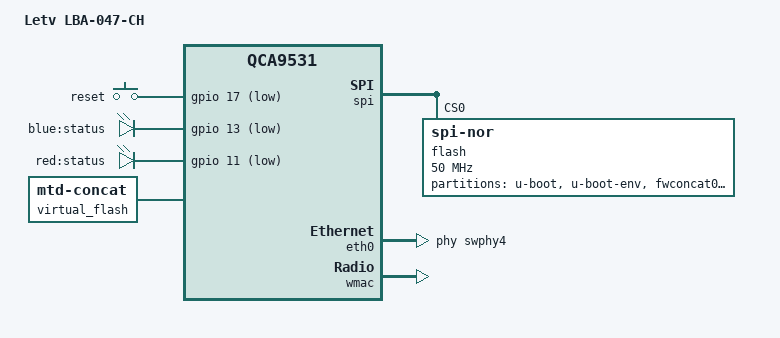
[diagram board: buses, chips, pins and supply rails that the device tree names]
// SPDX-License-Identifier: GPL-2.0-or-later OR MIT

#include "qca953x.dtsi"

#include <dt-bindings/gpio/gpio.h>
#include <dt-bindings/input/input.h>
#include <dt-bindings/mtd/partitions/uimage.h>

/ {
	model = "Letv LBA-047-CH";
	compatible = "letv,lba-047-ch", "qca,qca9531";

	aliases {
		led-boot = &led_status_red;
		led-failsafe = &led_status_red;
		led-running = &led_status_blue;
		led-upgrade = &led_status_red;
		label-mac-device = &eth0;
	};

	keys {
		compatible = "gpio-keys";

		reset {
			label = "reset";
			linux,code = <KEY_RESTART>;
			gpios = <&gpio 17 GPIO_ACTIVE_LOW>;
		};
	};

	leds {
		compatible = "gpio-leds";

		pinctrl-names = "default";
		pinctrl-0 = <&led_wan_pin>;

		led_status_blue: status_blue {
			label = "blue:status";
			gpios = <&gpio 13 GPIO_ACTIVE_LOW>;
		};

		led_status_red: status_red {
			label = "red:status";
			gpios = <&gpio 11 GPIO_ACTIVE_LOW>;
		};
	};

	virtual_flash {
		compatible = "mtd-concat";
		devices = <&fwconcat0 &fwconcat1>;

		partitions {
			compatible = "fixed-partitions";
			#address-cells = <1>;
			#size-cells = <1>;

			partition@0 {
				reg = <0x0 0x0>;
				label = "firmware";
				compatible = "openwrt,uimage", "denx,uimage";
				openwrt,ih-magic = <IH_MAGIC_OKLI>;
			};
		};
	};
};

&pinmux {
	/* GPIO 4: LED_LINK_5 (WAN) */
	led_wan_pin: pinmux_led_wan_pin {
		pinctrl-single,bits = <0x04 0x0000002d 0x000000ff>;
	};
};

&spi {
	status = "okay";

	flash@0 {
		compatible = "jedec,spi-nor";
		reg = <0>;
		spi-max-frequency = <50000000>;
		m25p,fast-read;

		partitions {
			compatible = "fixed-partitions";
			#address-cells = <1>;
			#size-cells = <1>;

			partition@0 {
				label = "u-boot";
				reg = <0x0 0x40000>;
				read-only;
			};

			partition@40000 {
				label = "u-boot-env";
				reg = <0x40000 0x10000>;
				read-only;
			};

			fwconcat0: partition@50000 {
				label = "fwconcat0";
				reg = <0x50000 0xe30000>;
			};

			partition@e80000 {
				label = "loader";
				reg = <0xe80000 0x10000>;
			};

			fwconcat1: partition@e90000 {
				label = "fwconcat1";
				reg = <0xe90000 0x160000>;
			};

			art: partition@ff0000 {
				label = "art";
				reg = <0xff0000 0x10000>;
				read-only;
			};
		};
	};
};

&eth0 {
	status = "okay";

	phy-handle = <&swphy4>;

	nvmem-cells = <&macaddr_art_0>;
	nvmem-cell-names = "mac-address";
};

&eth1 {
	compatible = "qca,qca9530-eth", "syscon", "simple-mfd";

	nvmem-cells = <&macaddr_art_6>;
	nvmem-cell-names = "mac-address";
};

&wmac {
	status = "okay";

	mtd-cal-data = <&art 0x1000>;
};

&art {
	compatible = "nvmem-cells";
	#address-cells = <1>;
	#size-cells = <1>;

	macaddr_art_0: macaddr@0 {
		reg = <0x0 0x6>;
	};

	macaddr_art_6: macaddr@6 {
		reg = <0x6 0x6>;
	};
};
